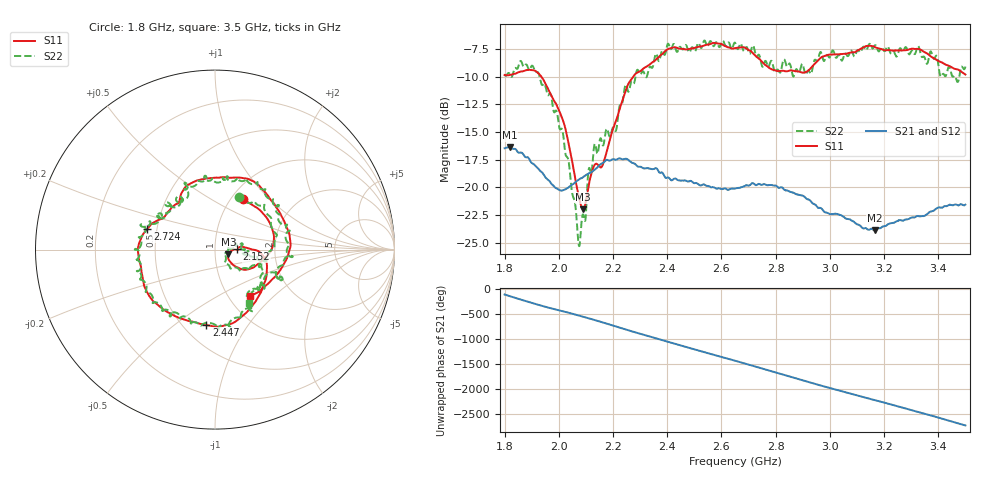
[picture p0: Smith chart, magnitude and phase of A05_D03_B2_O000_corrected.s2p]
! Created with skrf 1.9.0 (http://scikit-rf.org).
# Hz S RI R 50.0
!freq ReS11 ImS11 ReS21 ImS21 ReS12 ImS12 ReS22 ImS22
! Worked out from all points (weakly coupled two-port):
!   1601 points, 1.8 GHz to 3.5 GHz, reference 50 ohm
!   highest |S21| = -16.37 dB at 1.818 GHz (marker M1); lowest = -23.9 dB at 3.165 GHz (marker M2)
!   lowest |S11| = -22.0 dB at 2.09 GHz (marker M3), VSWR 1.17, Z = 58 - j3.12 ohm
!   |S11| at or under -10 dB: 1.936 GHz to 2.274 GHz (338.7 MHz wide, 16.1 % of centre)
!   |S22| runs from -25.3 to -6.7 dB; largest |S21 - S12| = 0.0026
!   S11 on the Smith chart (normalised r, x): 1.8 GHz: 1.13, +0.71; 2.152 GHz: 1.28, +0.00; 2.447 GHz: 0.64, -0.66; 2.724 GHz: 0.44, +0.12; 3.5 GHz: 1.26, -0.72
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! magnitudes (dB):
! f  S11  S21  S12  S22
! 1.8 GHz  -9.8  -16.5  -16.5  -9.8
! 1.818 GHz  -9.9  -16.4  -16.4  -9.7
! 1.903 GHz  -9.4  -17.8  -17.8  -9.0
! 1.968 GHz  -11.5  -19.5  -19.6  -11.5
! 2.015 GHz  -13.9  -20.3  -20.3  -15.0
! 2.072 GHz  -20.6  -19.3  -19.4  -25.0
! 2.084 GHz  -21.8  -19.2  -19.1  -23.2
! 2.09 GHz  -22.0  -19.1  -19.1  -22.5
! 2.112 GHz  -19.6  -18.7  -18.7  -18.2
! 2.152 GHz  -18.2  -18.0  -18.0  -15.7
! 2.209 GHz  -14.1  -17.5  -17.5  -14.9
! 2.259 GHz  -10.5  -17.6  -17.6  -11.3
! 2.367 GHz  -8.2  -18.5  -18.5  -8.5
! 2.447 GHz  -7.5  -19.4  -19.4  -7.3
! 2.65 GHz  -7.4  -20.1  -20.1  -6.9
! 2.724 GHz  -8.1  -19.8  -19.7  -7.8
! 2.934 GHz  -9.1  -21.4  -21.4  -9.5
! 3.165 GHz  -7.3  -23.9  -23.9  -7.2
! 3.217 GHz  -7.6  -23.3  -23.3  -7.4
! 3.376 GHz  -8.2  -22.2  -22.2  -7.9
! 3.468 GHz  -9.3  -21.6  -21.6  -10.4
! 3.5 GHz  -9.8  -21.6  -21.6  -9.1
